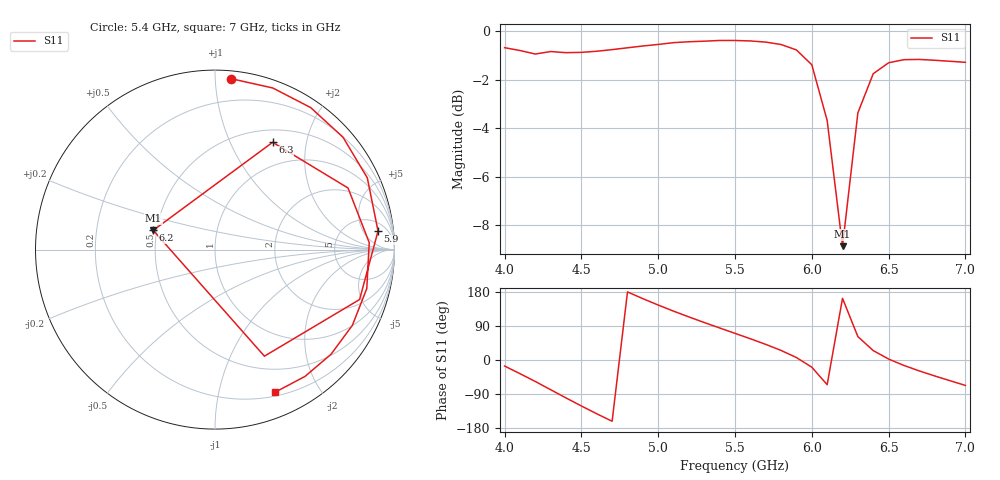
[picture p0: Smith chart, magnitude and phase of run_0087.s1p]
! Touchstone file exported from HFSS 2024.2.0
!  File:  C:/Users/wsak9/Desktop/Sim Fast/Widenad Patch/WP_AI_V1_sweep.aedt
!  Generated:  06:33:56 PM Oct 13, 2026
!  Design:  A1_model
!  Project:  WP_AI_V1_sweep
!  Setup:  Setup1
!  Solution:  Sweep
! Variables:
!  Air_gap = 4.3mm
!  Curve_Amp1 = 1.21
!  Curve_len1 = 1
!  Curve_pos = 9.88mm
!  Extra = 7.11mm
!  H_sub = 0.79mm
!  L_Patch = 15.76mm
!  L_Patch1 = 21mm
!  Sx = 4.38mm
!  Sy = 2.23mm
!  WS = 0.68mm
!  W_Patch = 22.87mm
!  W_Patch1 = 13.89mm
!Data is not renormalized
# GHz S MA
! Terminal data exported
! Port[1] = 1
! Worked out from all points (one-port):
!   31 points, 4 GHz to 7 GHz, reference per port
!   lowest |S11| = -8.9 dB at 6.2 GHz (marker M1), VSWR 2.13
!   |S11| at or under -10 dB: nowhere
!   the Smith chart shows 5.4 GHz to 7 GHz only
!   S11 on the Smith chart (normalised r, x): 5.4 GHz: 0.05, +1.10; 5.9 GHz: 9, +11; 6.2 GHz: 0.48, +0.12; 6.3 GHz: 0.66, +1.46; 7 GHz: 0.24, -1.48
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4  0.924 -15.9
4.1  0.9118 -36.1
4.2  0.8967 -56.7
4.3  0.9073 -78.5
4.4  0.9025 -100.1
4.5  0.9038 -121.3
4.6  0.9086 -141.9
4.7  0.9156 -161.6
4.8  0.9236 179.6
4.9  0.9316 161.9
5  0.9384 145.0
5.1  0.9464 128.9
5.2  0.9505 113.6
5.4  0.9563 84.5
5.5  0.9562 70.3
5.7  0.9489 41.2
5.8  0.9381 25.2
5.9  0.9142 6.5
6  0.8523 -19.0
6.1  0.6545 -65.1
6.2  0.3606 162.7
6.3  0.6785 61.8
6.4  0.8168 24.8
6.5  0.8603 2.6
6.6  0.873 -14.4
6.7  0.874 -28.9
6.8  0.8706 -42.1
7  0.8622 -67.1
